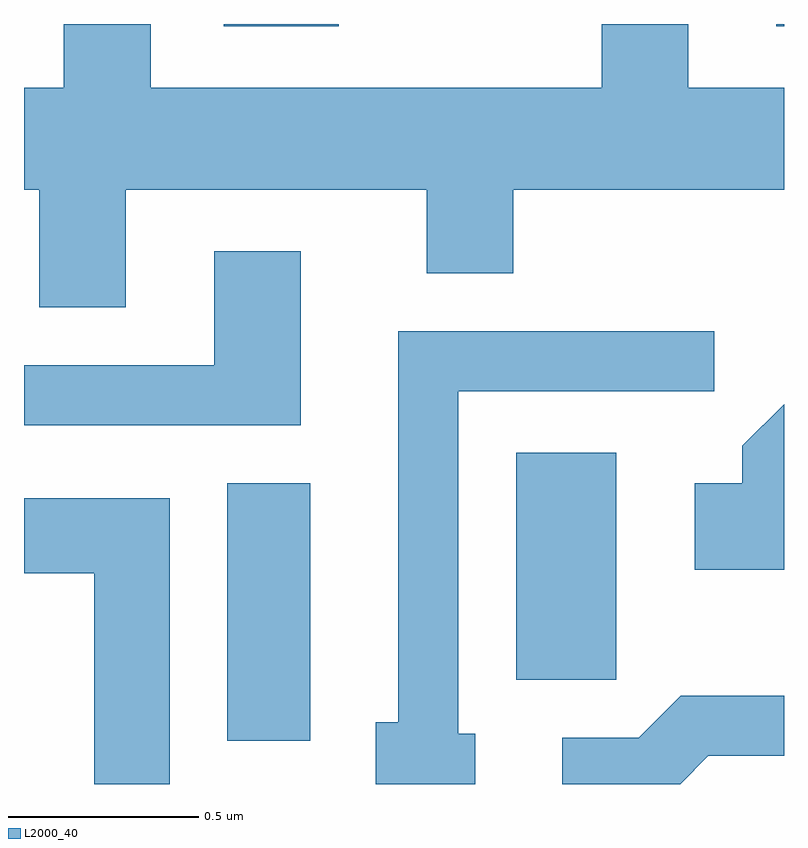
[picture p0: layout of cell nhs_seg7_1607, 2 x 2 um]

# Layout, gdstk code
import gdstk
lib = gdstk.Library(unit=1e-6, precision=1e-09)
def R(c, l, rs):  # rectangles x0, y0, x1, y1
    for r in rs: c.add(gdstk.rectangle(r[:2], r[2:], *l))
def P(c, l, *ps):  # polygons
    for p in ps: c.add(gdstk.Polygon(p, *l))
L2000_40 = (2000, 40)

nhs_seg7_1607 = lib.new_cell('nhs_seg7_1607')
R(nhs_seg7_1607, L2000_40, [(197.146,1768.366,197.364,1769.044), (197.906,1768.526,198.169,1769.124), (197.136,1770.246,197.439,1770.252), (198.591,1770.246,198.611,1770.252)])
P(nhs_seg7_1607, L2000_40, [(196.879,1769.816),(197.671,1769.816),(197.671,1769.596),(197.899,1769.596),(197.899,1769.816),(198.611,1769.816),(198.611,1770.084),(198.359,1770.084),(198.359,1770.252),(198.131,1770.252),(198.131,1770.084),(196.944,1770.084),(196.944,1770.252),(196.716,1770.252),(196.716,1770.084),(196.611,1770.084),(196.611,1769.816),(196.651,1769.816),(196.651,1769.506),(196.879,1769.506)],
  [(197.339,1769.654),(197.111,1769.654),(197.111,1769.354),(196.611,1769.354),(196.611,1769.196),(197.339,1769.196)],
  [(197.799,1768.384),(197.754,1768.384),(197.754,1769.286),(198.428,1769.286),(198.428,1769.444),(197.596,1769.444),(197.596,1768.414),(197.536,1768.414),(197.536,1768.252),(197.799,1768.252)],
  [(198.611,1769.252),(198.501,1769.142),(198.501,1769.044),(198.376,1769.044),(198.376,1768.816),(198.611,1768.816)],
  [(196.994,1769.004),(196.611,1769.004),(196.611,1768.806),(196.796,1768.806),(196.796,1768.252),(196.994,1768.252)],
  [(198.412,1768.326),(198.611,1768.326),(198.611,1768.484),(198.339,1768.484),(198.229,1768.374),(198.028,1768.374),(198.028,1768.252),(198.338,1768.252)])

lib.write_gds('nhs_seg7_1607.gds')
